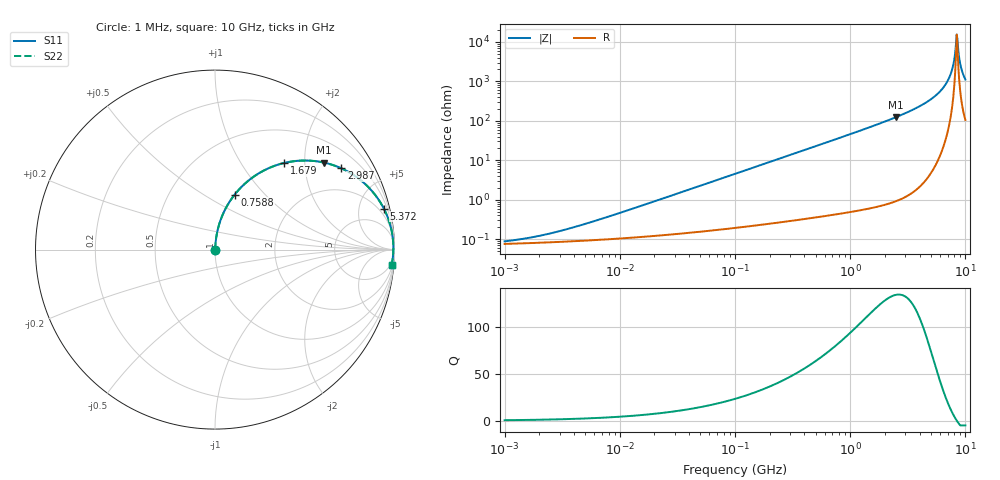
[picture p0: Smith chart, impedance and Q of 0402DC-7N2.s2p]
# MHz  S  MA  R  50
!Freq  MagS11  AngS11  MagS21  AngS21  MagS12  AngS12  MagS22  AngS22
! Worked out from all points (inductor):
!   801 points, 1 MHz to 10 GHz, reference 50 ohm
!   read as one part in series: L = 7.2 nH near 6.383 MHz
!   highest Q = 135 at 2.513 GHz (marker M1), where L = 7.9 nH
!   self-resonance near 8.418 GHz
!   S11 on the Smith chart (normalised r, x): 1 MHz: 1.00, +0.00; 758.8 MHz: 1.01, +0.69; 1.679 GHz: 1.01, +1.58; 2.987 GHz: 1.02, +3.09; 5.372 GHz: 1.13, +8.18; 10 GHz: 3, -22
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1  0.0008838 30.7  0.9992 -0.0  0.9992 -0.0  0.0008838 30.7
2.06545  0.00124 48.8  0.9992 -0.1  0.9992 -0.1  0.00124 48.8
4.67769  0.002302 66.6  0.9991 -0.1  0.9991 -0.1  0.002302 66.6
21.6303  0.00985 82.2  0.9987 -0.6  0.9987 -0.6  0.00985 82.2
100.0216  0.04516 85.0  0.9971 -2.6  0.9971 -2.6  0.04516 85.0
467.8699  0.207 77.1  0.975 -11.9  0.975 -11.9  0.207 77.1
758.8133  0.3258 70.3  0.9414 -19.0  0.9414 -19.0  0.3258 70.3
1679.388  0.618 51.4  0.7811 -38.2  0.7811 -38.2  0.618 51.4
2163.497  0.7207 43.5  0.6878 -46.1  0.6878 -46.1  0.7207 43.5
2512.808  0.7775 38.5  0.6232 -51.0  0.6232 -51.0  0.7775 38.5
2986.502  0.8366 32.8  0.5415 -56.8  0.5415 -56.8  0.8366 32.8
4170.322  0.9253 21.7  0.3705 -67.7  0.3705 -67.7  0.9253 21.7
5372.48  0.9678 13.7  0.2366 -75.4  0.2366 -75.4  0.9678 13.7
6385.256  0.985 8.4  0.1456 -79.9  0.1456 -79.9  0.985 8.4
7164.414  0.9913 4.9  0.08527 -81.7  0.08527 -81.7  0.9913 4.9
7676.832  0.9932 2.8  0.04934 -80.7  0.04934 -80.7  0.9932 2.8
8131.735  0.9938 1.1  0.01995 -71.3  0.01995 -71.3  0.9938 1.1
8417.515  0.9936 0.1  0.006442 -9.1  0.006442 -9.1  0.9936 0.1
8713.339  0.9931 -1.0  0.01823 67.4  0.01823 67.4  0.9931 -1.0
9019.56  0.9923 -2.0  0.03563 76.5  0.03563 76.5  0.9923 -2.0
9336.542  0.9911 -3.0  0.0534 78.9  0.0534 78.9  0.9911 -3.0
10000  0.9877 -5.1  0.08894 79.5  0.08894 79.5  0.9877 -5.1
